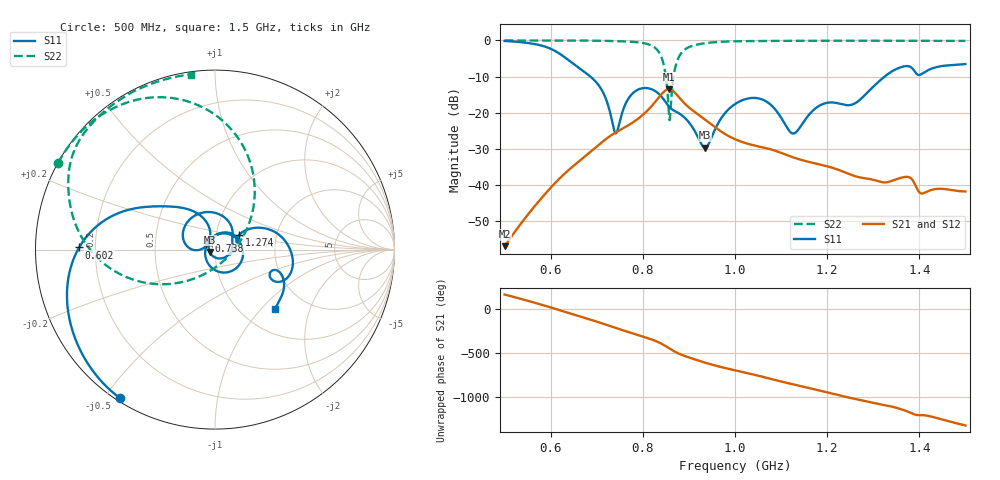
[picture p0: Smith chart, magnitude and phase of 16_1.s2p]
! TOUCHSTONE file generated by CST MICROWAVE STUDIO
! Date and time: Fri Oct  2 18:39:59 2020
! Project name: Scenario_1_Free_Space_out_of_line.cst
! Parameters = {Lambda=346.42; Step_1=17.321; dy1=87.525; dx1=173; L_HA=400; MT=2.54; Rad_Dielectric=30; Rad_Lower=7.3; Rad_Upper=30; a_HA=580; a_WG=246; b_HA=500; b_WG=121; c_HA=0; c_WG=187; d_feed=85; h_feed=15; h_lower=18; h_upper=40}
! Header version: 2018
! Port assignment regex: !\s*Touchstone port\s*([0-9]+)\s*=\s*(CST MWS port|CST DS port)\s*([0-9]+|Zmin|Zmax)\s*\(\"(.*)\"\)(\s*mode\s*([0-9]+))?.*
! Touchstone port assignment:
! Touchstone port 1 = CST MWS port 1 ("")
! Touchstone port 2 = CST MWS port 2 ("")
# GHz S DB R 50
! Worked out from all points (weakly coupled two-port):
!   1003 points, 500 MHz to 1.5 GHz, reference 50 ohm
!   highest |S21| = -13.47 dB at 856 MHz (marker M1); lowest = -56.9 dB at 500 MHz (marker M2)
!   lowest |S11| = -29.7 dB at 935 MHz (marker M3), VSWR 1.07, Z = 47.1 - j1.3 ohm
!   |S11| at or under -10 dB: 686.2 MHz to 1.325 GHz (638.4 MHz wide, 63.5 % of centre)
!   |S22| runs from -22.1 to 0.0 dB; largest |S21 - S12| = 7.5e-06
!   S11 on the Smith chart (normalised r, x): 500 MHz: 0.01, -0.55; 602 MHz: 0.14, +0.01; 738 MHz: 0.93, +0.09; 1.274 GHz: 1.29, +0.22; 1.5 GHz: 1.41, -1.20
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0.5  -0.16 -122.7  -56.85 163.3  -56.85 163.3  -0.01 151.1
0.56  -0.89 -153.3  -46.63 78.0  -46.63 78.0  -0.01 147.0
0.602  -2.42 179.1  -40.43 13.5  -40.43 13.5  -0.02 143.9
0.667  -8.13 142.0  -32.84 -92.0  -32.84 -92.0  -0.05 138.3
0.711  -13.74 113.1  -28.15 -163.8  -28.15 -163.8  -0.10 133.3
0.738  -24.91 126.4  -25.67 148.7  -25.67 148.7  -0.18 129.5
0.781  -14.28 157.9  -22.43 76.6  -22.43 76.6  -0.42 120.3
0.834  -14.68 71.8  -15.86 -20.3  -15.86 -20.3  -3.08 84.8
0.846  -16.43 51.0  -14.13 -52.9  -14.13 -52.9  -7.12 60.3
0.856  -18.18 38.1  -13.47 -85.2  -13.47 -85.2  -18.94 3.2
0.861  -18.83 33.1  -13.60 -101.7  -13.60 -101.7  -17.29 -109.3
0.867  -19.35 26.5  -14.13 -120.4  -14.13 -120.4  -9.67 -144.1
0.886  -20.83 -3.7  -16.79 -167.0  -16.79 -167.0  -3.10 179.7
0.935  -29.68 -155.2  -21.87 107.5  -21.87 107.5  -0.77 153.1
1  -17.59 31.1  -27.30 20.1  -27.30 20.1  -0.24 140.2
1.064  -16.59 -56.3  -29.65 -58.9  -29.65 -58.9  -0.15 132.9
1.126  -25.73 163.4  -32.30 -139.9  -32.30 -139.9  -0.11 127.4
1.167  -19.64 65.4  -33.77 170.3  -33.77 170.3  -0.10 124.1
1.274  -16.06 31.4  -37.92 39.3  -37.92 39.3  -0.08 116.0
1.334  -9.09 15.8  -39.06 -26.5  -39.06 -26.5  -0.09 111.4
1.384  -7.63 -24.8  -38.38 -111.3  -38.39 -111.3  -0.10 107.6
1.5  -6.52 -44.7  -41.72 111.7  -41.72 111.7  -0.14 97.8
